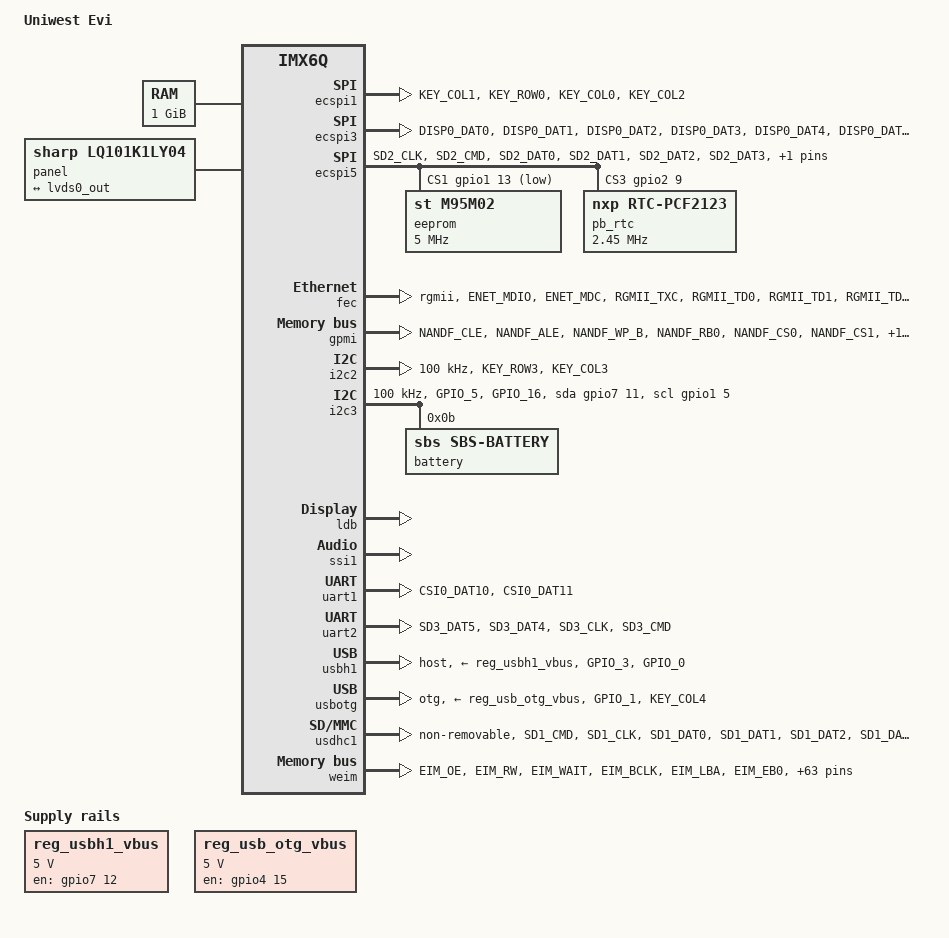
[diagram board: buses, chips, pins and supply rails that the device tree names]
/*
 * Copyright 2016 United Western Technologies.
 *
 * This file is dual-licensed: you can use it either under the terms
 * of the GPL or the X11 license, at your option. Note that this dual
 * licensing only applies to this file, and not this project as a
 * whole
 *
 *  a) This file is free software; you can redistribute it and/or
 *     modify it under the terms of the GNU General Public License as
 *     published by the Free Software Foundation; either version 2 of the
 *     License, or (at your option) any later version.
 *
 *     This file is distributed in the hope that it will be useful,
 *     but WITHOUT ANY WARRANTY; without even the implied warranty of
 *     MERCHANTABILITY or FITNESS FOR A PARTICULAR PURPOSE.  See the
 *     GNU General Public License for more details.
 *
 * Or, alternatively,
 *
 *  b) Permission is hereby granted, free of charge, to any person
 *     obtaining a copy of this software and associated documentation
 *     files (the "Software"), to deal in the Software without
 *     restriction, including without limitation the rights to use,
 *     copy, modify, merge, publish, distribute, sublicense, and/or
 *     sell copies of the Software, and to permit persons to whom the
 *     Software is furnished to do so, subject to the following
 *     conditions:
 *
 *     The above copyright notice and this permission notice shall be
 *     included in all copies or substantial portions of the Software.
 *
 *     THE SOFTWARE IS PROVIDED "AS IS", WITHOUT WARRANTY OF ANY KIND,
 *     EXPRESS OR IMPLIED, INCLUDING BUT NOT LIMITED TO THE WARRANTIES
 *     OF MERCHANTABILITY, FITNESS FOR A PARTICULAR PURPOSE AND
 *     NONINFRINGEMENT. IN NO EVENT SHALL THE AUTHORS OR COPYRIGHT
 *     HOLDERS BE LIABLE FOR ANY CLAIM, DAMAGES OR OTHER LIABILITY,
 *     WHETHER IN AN ACTION OF CONTRACT, TORT OR OTHERWISE, ARISING
 *     FROM, OUT OF OR IN CONNECTION WITH THE SOFTWARE OR THE USE OR
 *     OTHER DEALINGS IN THE SOFTWARE.
 *
 */

/dts-v1/;
#include "imx6q.dtsi"
#include <dt-bindings/gpio/gpio.h>
#include <dt-bindings/interrupt-controller/irq.h>

/ {
	model = "Uniwest Evi";
	compatible = "uniwest,imx6q-evi", "fsl,imx6q";

	memory {
		reg = <0x10000000 0x40000000>;
	};

	reg_usbh1_vbus: regulator-usbhubreset {
		compatible = "regulator-fixed";
		regulator-name = "usbh1_vbus";
		regulator-min-microvolt = <5000000>;
		regulator-max-microvolt = <5000000>;
		enable-active-high;
		startup-delay-us = <2>;
		pinctrl-names = "default";
		pinctrl-0 = <&pinctrl_usbh1_hubreset>;
		gpio = <&gpio7 12 GPIO_ACTIVE_HIGH>;
	};

	reg_usb_otg_vbus: regulator-usbotgvbus {
		compatible = "regulator-fixed";
		regulator-name = "usb_otg_vbus";
		regulator-min-microvolt = <5000000>;
		regulator-max-microvolt = <5000000>;
		pinctrl-names = "default";
		pinctrl-0 = <&pinctrl_usbotgvbus>;
		gpio = <&gpio4 15 GPIO_ACTIVE_HIGH>;
		enable-active-high;
		regulator-always-on;
	};

	panel {
		compatible = "sharp,lq101k1ly04";

		port {
			panel_in: endpoint {
				remote-endpoint = <&lvds0_out>;
			};
		};
	};
};

&ecspi1 {
	cs-gpios = <&gpio4 10 GPIO_ACTIVE_LOW>;
	pinctrl-names = "default";
	pinctrl-0 = <&pinctrl_ecspi1 &pinctrl_ecspi1cs>;
	status = "okay";
};

&ecspi3 {
	cs-gpios = <&gpio4 24 GPIO_ACTIVE_LOW>,
		<&gpio4 25 GPIO_ACTIVE_LOW>,
		<&gpio4 26 GPIO_ACTIVE_LOW>;
	pinctrl-names = "default";
	pinctrl-0 = <&pinctrl_ecspi3 &pinctrl_ecspi3cs>;
	status = "okay";
};

&ecspi5 {
	cs-gpios = <&gpio1 14 GPIO_ACTIVE_LOW>,
		<&gpio1 13 GPIO_ACTIVE_LOW>,
		<&gpio1 12 GPIO_ACTIVE_LOW>,
		<&gpio2 9 GPIO_ACTIVE_HIGH>;
	pinctrl-names = "default";
	pinctrl-0 = <&pinctrl_ecspi5 &pinctrl_ecspi5cs>;
	status = "okay";

	eeprom: m95m02@1 {
		compatible = "st,m95m02", "atmel,at25";
		size = <262144>;
		pagesize = <256>;
		address-width = <24>;
		spi-max-frequency = <5000000>;
		reg = <1>;
	};

	pb_rtc: rtc@3 {
		compatible = "nxp,rtc-pcf2123";
		spi-max-frequency = <2450000>;
		spi-cs-high;
		reg = <3>;
	};
};

&fec {
	pinctrl-names = "default";
	pinctrl-0 = <&pinctrl_enet>;
	phy-mode = "rgmii";
	phy-reset-gpios = <&gpio1 25 GPIO_ACTIVE_LOW>;
	interrupts-extended = <&gpio1 6 IRQ_TYPE_LEVEL_HIGH>,
			      <&intc 0 119 IRQ_TYPE_LEVEL_HIGH>;
	fsl,err006687-workaround-present;
	status = "okay";
};

&gpmi {
	pinctrl-names = "default";
	pinctrl-0 = <&pinctrl_gpminand>;
	status = "okay";
};

&i2c2 {
	pinctrl-names = "default";
	pinctrl-0 = <&pinctrl_i2c2>;
	clock-frequency = <100000>;
	status = "okay";
};

&i2c3 {
	pinctrl-names = "default", "gpio";
	pinctrl-0 = <&pinctrl_i2c3>;
	pinctrl-1 = <&pinctrl_i2c3_gpio>;
	clock-frequency = <100000>;
	scl-gpios = <&gpio1 5 GPIO_ACTIVE_HIGH>;
	sda-gpios = <&gpio7 11 GPIO_ACTIVE_HIGH>;
	status = "okay";

	battery: sbs-battery@b {
		compatible = "sbs,sbs-battery";
		reg = <0x0b>;
		sbs,poll-retry-count = <100>;
		sbs,i2c-retry-count = <100>;
	};
};

&ldb {
	status = "okay";

	lvds0: lvds-channel@0 {
		status = "okay";

		port@4 {
			reg = <4>;
			lvds0_out: endpoint {
				remote-endpoint = <&panel_in>;
			};
		};
	};
};

&ssi1 {
	status = "okay";
};

&uart1 {
	pinctrl-names = "default";
	pinctrl-0 = <&pinctrl_uart1>;
	status = "okay";
};

&uart2 {
	pinctrl-names = "default";
	pinctrl-0 = <&pinctrl_uart2>;
	status = "okay";
};

&usbh1 {
	vbus-supply = <&reg_usbh1_vbus>;
	pinctrl-names = "default";
	pinctrl-0 = <&pinctrl_usbh1>;
	dr_mode = "host";
	disable-over-current;
	status = "okay";
};

&usbotg {
	vbus-supply = <&reg_usb_otg_vbus>;
	pinctrl-names = "default";
	pinctrl-0 = <&pinctrl_usbotg>;
	disable-over-current;
	dr_mode = "otg";
	status = "okay";
};

&usdhc1 {
	pinctrl-names = "default";
	pinctrl-0 = <&pinctrl_usdhc1>;
	non-removable;
	status = "okay";
};

&weim {
	ranges = <0 0 0x08000000 0x08000000>;
	pinctrl-names = "default";
	pinctrl-0 = <&pinctrl_weimfpga &pinctrl_weimcs>;
	status = "okay";
};

&iomuxc {
	pinctrl-names = "default";
	pinctrl-0 = <&pinctrl_hog>;

	pinctrl_hog: hoggrp {
		fsl,pins = <
			/* pwr mcu alert irq */
			MX6QDL_PAD_SD4_DAT2__GPIO2_IO10 0x1b0b0
			/* remainder ???? */
			MX6QDL_PAD_CSI0_MCLK__GPIO5_IO19 0x1b0b0
		>;
	};

	pinctrl_ecspi1: ecspi1grp {
		fsl,pins = <
			MX6QDL_PAD_KEY_COL1__ECSPI1_MISO 0x100b1
			MX6QDL_PAD_KEY_ROW0__ECSPI1_MOSI 0x100b1
			MX6QDL_PAD_KEY_COL0__ECSPI1_SCLK 0x100b1
		>;
	};

	pinctrl_ecspi1cs: ecspi1csgrp {
		fsl,pins = <
			MX6QDL_PAD_KEY_COL2__GPIO4_IO10 0x1b0b0
		>;
	};

	pinctrl_ecspi3: ecspi3grp {
		fsl,pins = <
			MX6QDL_PAD_DISP0_DAT0__ECSPI3_SCLK 0x10068
			MX6QDL_PAD_DISP0_DAT1__ECSPI3_MOSI 0x10068
			MX6QDL_PAD_DISP0_DAT2__ECSPI3_MISO 0x1f068
		>;
	};

	pinctrl_ecspi3cs: ecspi3csgrp {
		fsl,pins = <
			MX6QDL_PAD_DISP0_DAT3__GPIO4_IO24 0x1b0b0
			MX6QDL_PAD_DISP0_DAT4__GPIO4_IO25 0x1b0b0
			MX6QDL_PAD_DISP0_DAT5__GPIO4_IO26 0x1b0b0
			MX6QDL_PAD_DISP0_DAT6__GPIO4_IO27 0x1b0b0
		>;
	};

	pinctrl_ecspi5: ecspi5grp {
		fsl,pins = <
			MX6QDL_PAD_SD2_CLK__ECSPI5_SCLK 0x100b1
			MX6QDL_PAD_SD2_CMD__ECSPI5_MOSI 0x100b1
			MX6QDL_PAD_SD2_DAT0__ECSPI5_MISO 0x100b1
		>;
	};

	pinctrl_ecspi5cs: ecspi5csgrp {
		fsl,pins = <
			MX6QDL_PAD_SD2_DAT1__GPIO1_IO14 0x1b0b0
			MX6QDL_PAD_SD2_DAT2__GPIO1_IO13 0x1b0b0
			MX6QDL_PAD_SD2_DAT3__GPIO1_IO12 0x1b0b0
			MX6QDL_PAD_SD4_DAT1__GPIO2_IO09 0x1b0b0
		>;
	};

	pinctrl_enet: enetgrp {
		fsl,pins = <
			MX6QDL_PAD_ENET_MDIO__ENET_MDIO 0x1b0b0
			MX6QDL_PAD_ENET_MDC__ENET_MDC 0x1b0b0
			MX6QDL_PAD_RGMII_TXC__RGMII_TXC 0x1b030
			MX6QDL_PAD_RGMII_TD0__RGMII_TD0 0x1b030
			MX6QDL_PAD_RGMII_TD1__RGMII_TD1 0x1b030
			MX6QDL_PAD_RGMII_TD2__RGMII_TD2 0x1b030
			MX6QDL_PAD_RGMII_TD3__RGMII_TD3 0x1b030
			MX6QDL_PAD_RGMII_TX_CTL__RGMII_TX_CTL 0x1b030
			MX6QDL_PAD_ENET_REF_CLK__ENET_TX_CLK 0x1b0b0
			MX6QDL_PAD_RGMII_RXC__RGMII_RXC 0x1b030
			MX6QDL_PAD_RGMII_RD0__RGMII_RD0 0x1b030
			MX6QDL_PAD_RGMII_RD1__RGMII_RD1 0x1b030
			MX6QDL_PAD_RGMII_RD2__RGMII_RD2 0x1b030
			MX6QDL_PAD_RGMII_RD3__RGMII_RD3 0x1b030
			MX6QDL_PAD_RGMII_RX_CTL__RGMII_RX_CTL 0x1b030
			MX6QDL_PAD_ENET_TX_EN__ENET_TX_EN 0x4001b0a8
			MX6QDL_PAD_ENET_CRS_DV__GPIO1_IO25 0x1b0b0
			MX6QDL_PAD_GPIO_6__ENET_IRQ 0x000b1
		>;
	};

	pinctrl_gpminand: gpminandgrp {
		fsl,pins = <
			MX6QDL_PAD_NANDF_CLE__NAND_CLE 0xb0b1
			MX6QDL_PAD_NANDF_ALE__NAND_ALE 0xb0b1
			MX6QDL_PAD_NANDF_WP_B__NAND_WP_B 0xb0b1
			MX6QDL_PAD_NANDF_RB0__NAND_READY_B 0xb000
			MX6QDL_PAD_NANDF_CS0__NAND_CE0_B 0xb0b1
			MX6QDL_PAD_NANDF_CS1__NAND_CE1_B 0xb0b1
			MX6QDL_PAD_SD4_CMD__NAND_RE_B 0xb0b1
			MX6QDL_PAD_SD4_CLK__NAND_WE_B 0xb0b1
			MX6QDL_PAD_NANDF_D0__NAND_DATA00 0xb0b1
			MX6QDL_PAD_NANDF_D1__NAND_DATA01 0xb0b1
			MX6QDL_PAD_NANDF_D2__NAND_DATA02 0xb0b1
			MX6QDL_PAD_NANDF_D3__NAND_DATA03 0xb0b1
			MX6QDL_PAD_NANDF_D4__NAND_DATA04 0xb0b1
			MX6QDL_PAD_NANDF_D5__NAND_DATA05 0xb0b1
			MX6QDL_PAD_NANDF_D6__NAND_DATA06 0xb0b1
			MX6QDL_PAD_NANDF_D7__NAND_DATA07 0xb0b1
			MX6QDL_PAD_SD4_DAT0__NAND_DQS 0x00b1
		>;
	};

	pinctrl_i2c2: i2c2grp {
		fsl,pins = <
			MX6QDL_PAD_KEY_ROW3__I2C2_SDA 0x4001b8b1
			MX6QDL_PAD_KEY_COL3__I2C2_SCL 0x4001b8b1
		>;
	};

	pinctrl_i2c3: i2c3grp {
		fsl,pins = <
			MX6QDL_PAD_GPIO_5__I2C3_SCL 0x4001b8b1
			MX6QDL_PAD_GPIO_16__I2C3_SDA 0x4001b8b1
		>;
	};

	pinctrl_i2c3_gpio: i2c3gpiogrp {
		fsl,pins = <
			MX6QDL_PAD_GPIO_5__GPIO1_IO05 0x4001b8b1
			MX6QDL_PAD_GPIO_16__GPIO7_IO11 0x4001b8b1
		>;
	};

	pinctrl_weimcs: weimcsgrp {
		fsl,pins = <
			MX6QDL_PAD_EIM_CS0__EIM_CS0_B 0xb0b1
			MX6QDL_PAD_EIM_CS1__EIM_CS1_B 0xb0b1
		>;
	};

	pinctrl_weimfpga: weimfpgagrp {
		fsl,pins = <
			/* weim misc */
			MX6QDL_PAD_EIM_OE__EIM_OE_B 0xb0b1
			MX6QDL_PAD_EIM_RW__EIM_RW 0xb0b1
			MX6QDL_PAD_EIM_WAIT__EIM_WAIT_B 0xb060
			MX6QDL_PAD_EIM_BCLK__EIM_BCLK 0xb0b1
			MX6QDL_PAD_EIM_LBA__EIM_LBA_B 0xb0b1
			MX6QDL_PAD_EIM_EB0__EIM_EB0_B 0xb0b1
			MX6QDL_PAD_EIM_EB1__EIM_EB1_B 0xb0b1
			MX6QDL_PAD_EIM_EB2__EIM_EB2_B 0xb0b1
			MX6QDL_PAD_EIM_EB3__EIM_EB3_B 0xb0b1
			/* weim data */
			MX6QDL_PAD_CSI0_DATA_EN__EIM_DATA00 0x1b0b0
			MX6QDL_PAD_CSI0_VSYNC__EIM_DATA01 0x1b0b0
			MX6QDL_PAD_CSI0_DAT4__EIM_DATA02 0x1b0b0
			MX6QDL_PAD_CSI0_DAT5__EIM_DATA03 0x1b0b0
			MX6QDL_PAD_CSI0_DAT6__EIM_DATA04 0x1b0b0
			MX6QDL_PAD_CSI0_DAT7__EIM_DATA05 0x1b0b0
			MX6QDL_PAD_CSI0_DAT8__EIM_DATA06 0x1b0b0
			MX6QDL_PAD_CSI0_DAT9__EIM_DATA07 0x1b0b0
			MX6QDL_PAD_CSI0_DAT12__EIM_DATA08 0x1b0b0
			MX6QDL_PAD_CSI0_DAT13__EIM_DATA09 0x1b0b0
			MX6QDL_PAD_CSI0_DAT14__EIM_DATA10 0x1b0b0
			MX6QDL_PAD_CSI0_DAT15__EIM_DATA11 0x1b0b0
			MX6QDL_PAD_CSI0_DAT16__EIM_DATA12 0x1b0b0
			MX6QDL_PAD_CSI0_DAT17__EIM_DATA13 0x1b0b0
			MX6QDL_PAD_CSI0_DAT18__EIM_DATA14 0x1b0b0
			MX6QDL_PAD_CSI0_DAT19__EIM_DATA15 0x1b0b0
			MX6QDL_PAD_EIM_D16__EIM_DATA16 0x1b0b0
			MX6QDL_PAD_EIM_D17__EIM_DATA17 0x1b0b0
			MX6QDL_PAD_EIM_D18__EIM_DATA18 0x1b0b0
			MX6QDL_PAD_EIM_D19__EIM_DATA19 0x1b0b0
			MX6QDL_PAD_EIM_D20__EIM_DATA20 0x1b0b0
			MX6QDL_PAD_EIM_D21__EIM_DATA21 0x1b0b0
			MX6QDL_PAD_EIM_D22__EIM_DATA22 0x1b0b0
			MX6QDL_PAD_EIM_D23__EIM_DATA23 0x1b0b0
			MX6QDL_PAD_EIM_D24__EIM_DATA24 0x1b0b0
			MX6QDL_PAD_EIM_D25__EIM_DATA25 0x1b0b0
			MX6QDL_PAD_EIM_D26__EIM_DATA26 0x1b0b0
			MX6QDL_PAD_EIM_D27__EIM_DATA27 0x1b0b0
			MX6QDL_PAD_EIM_D28__EIM_DATA28 0x1b0b0
			MX6QDL_PAD_EIM_D29__EIM_DATA29 0x1b0b0
			MX6QDL_PAD_EIM_D30__EIM_DATA30 0x1b0b0
			MX6QDL_PAD_EIM_D31__EIM_DATA31 0x1b0b0
			/* weim address */
			MX6QDL_PAD_EIM_A25__EIM_ADDR25 0xb0b1
			MX6QDL_PAD_EIM_A24__EIM_ADDR24 0xb0b1
			MX6QDL_PAD_EIM_A23__EIM_ADDR23 0xb0b1
			MX6QDL_PAD_EIM_A22__EIM_ADDR22 0xb0b1
			MX6QDL_PAD_EIM_A21__EIM_ADDR21 0xb0b1
			MX6QDL_PAD_EIM_A20__EIM_ADDR20 0xb0b1
			MX6QDL_PAD_EIM_A19__EIM_ADDR19 0xb0b1
			MX6QDL_PAD_EIM_A18__EIM_ADDR18 0xb0b1
			MX6QDL_PAD_EIM_A17__EIM_ADDR17 0xb0b1
			MX6QDL_PAD_EIM_A16__EIM_ADDR16 0xb0b1
			MX6QDL_PAD_EIM_DA15__EIM_AD15 0xb0b1
			MX6QDL_PAD_EIM_DA14__EIM_AD14 0xb0b1
			MX6QDL_PAD_EIM_DA13__EIM_AD13 0xb0b1
			MX6QDL_PAD_EIM_DA12__EIM_AD12 0xb0b1
			MX6QDL_PAD_EIM_DA11__EIM_AD11 0xb0b1
			MX6QDL_PAD_EIM_DA10__EIM_AD10 0xb0b1
			MX6QDL_PAD_EIM_DA9__EIM_AD09 0xb0b1
			MX6QDL_PAD_EIM_DA8__EIM_AD08 0xb0b1
			MX6QDL_PAD_EIM_DA7__EIM_AD07 0xb0b1
			MX6QDL_PAD_EIM_DA6__EIM_AD06 0xb0b1
			MX6QDL_PAD_EIM_DA5__EIM_AD05 0xb0b1
			MX6QDL_PAD_EIM_DA4__EIM_AD04 0xb0b1
			MX6QDL_PAD_EIM_DA3__EIM_AD03 0xb0b1
			MX6QDL_PAD_EIM_DA2__EIM_AD02 0xb0b1
			MX6QDL_PAD_EIM_DA1__EIM_AD01 0xb0b1
			MX6QDL_PAD_EIM_DA0__EIM_AD00 0xb0b1
		>;
	};

	pinctrl_uart1: uart1grp {
		fsl,pins = <
			MX6QDL_PAD_CSI0_DAT10__UART1_TX_DATA 0x1b0b1
			MX6QDL_PAD_CSI0_DAT11__UART1_RX_DATA 0x1b0b1
		>;
	};

	pinctrl_uart2: uart2grp {
		fsl,pins = <
			MX6QDL_PAD_SD3_DAT5__UART2_TX_DATA 0x1b0b1
			MX6QDL_PAD_SD3_DAT4__UART2_RX_DATA 0x1b0b1
			MX6QDL_PAD_SD3_CLK__UART2_RTS_B 0x1b0b1
			MX6QDL_PAD_SD3_CMD__UART2_CTS_B 0x1b0b1
		>;
	};

	pinctrl_usbh1: usbh1grp {
		fsl,pins = <
			MX6QDL_PAD_GPIO_3__USB_H1_OC 0x1b0b0
			/* usbh1_b OC */
			MX6QDL_PAD_GPIO_0__GPIO1_IO00 0x1b0b0
		>;
	};

	pinctrl_usbh1_hubreset: usbh1hubresetgrp {
		fsl,pins = <
			MX6QDL_PAD_GPIO_17__GPIO7_IO12 0x1b0b0
		>;
	};

	pinctrl_usbotg: usbotggrp {
		fsl,pins = <
			MX6QDL_PAD_GPIO_1__USB_OTG_ID 0x17059
			MX6QDL_PAD_KEY_COL4__USB_OTG_OC 0x1b0b0
		>;
	};

	pinctrl_usbotgvbus: usbotgvbusgrp {
		fsl,pins = <
			MX6QDL_PAD_KEY_ROW4__GPIO4_IO15 0x000b0
		>;
	};

	pinctrl_usdhc1: usdhc1grp {
		fsl,pins = <
			MX6QDL_PAD_SD1_CMD__SD1_CMD 0x17059
			MX6QDL_PAD_SD1_CLK__SD1_CLK 0x10059
			MX6QDL_PAD_SD1_DAT0__SD1_DATA0 0x17059
			MX6QDL_PAD_SD1_DAT1__SD1_DATA1 0x17059
			MX6QDL_PAD_SD1_DAT2__SD1_DATA2 0x17059
			MX6QDL_PAD_SD1_DAT3__SD1_DATA3 0x17059
		>;
	};
};
